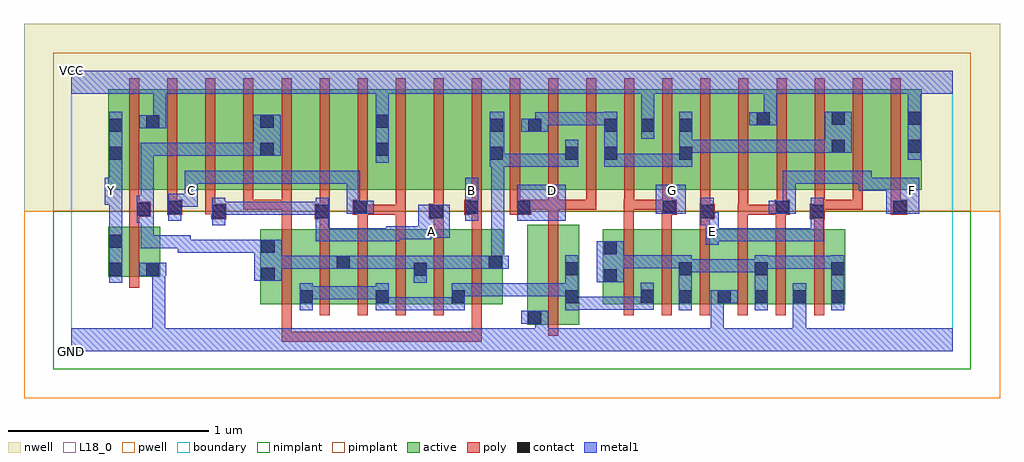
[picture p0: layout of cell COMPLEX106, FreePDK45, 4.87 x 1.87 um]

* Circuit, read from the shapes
.subckt COMPLEX106 A B C D E F G GND VCC Y
M1 GND n1 Y VSUBS nfet w=0.25u l=0.05u
M2 n2 B n1 VSUBS nfet w=0.375u l=0.05u m=2
M3 n1 A n2 VSUBS nfet w=0.375u l=0.05u m=2
M4 n2 C n1 VSUBS nfet w=0.375u l=0.05u m=2
M5 n2 D GND VSUBS nfet w=0.5u l=0.05u
M6 n2 G n3 VSUBS nfet w=0.375u l=0.05u m=2
M7 GND E n3 VSUBS nfet w=0.375u l=0.05u m=2
M8 n3 F GND VSUBS nfet w=0.375u l=0.05u m=2
M9 VCC n1 Y n4 pfet w=0.5u l=0.05u
M10 n5 C VCC n4 pfet w=0.5u l=0.05u
M11 n6 A n5 n4 pfet w=0.5u l=0.05u
M12 n1 B n6 n4 pfet w=0.5u l=0.05u
M13 n7 B n1 n4 pfet w=0.5u l=0.05u
M14 n8 A n7 n4 pfet w=0.5u l=0.05u
M15 VCC C n8 n4 pfet w=0.5u l=0.05u
M16 n9 C VCC n4 pfet w=0.5u l=0.05u
M17 n10 A n9 n4 pfet w=0.5u l=0.05u
M18 n1 B n10 n4 pfet w=0.5u l=0.05u
M19 n11 D n1 n4 pfet w=0.5u l=0.05u m=3
M20 VCC G n11 n4 pfet w=0.5u l=0.05u m=2
M21 n12 E n11 n4 pfet w=0.5u l=0.05u
M22 VCC F n12 n4 pfet w=0.5u l=0.05u
M23 n13 F VCC n4 pfet w=0.5u l=0.05u
M24 n11 E n13 n4 pfet w=0.5u l=0.05u
M25 n14 E n11 n4 pfet w=0.5u l=0.05u
M26 VCC F n14 n4 pfet w=0.5u l=0.05u
.ends

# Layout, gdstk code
import gdstk
lib = gdstk.Library(unit=1e-6, precision=1e-09)
def R(c, l, rs):  # rectangles x0, y0, x1, y1
    for r in rs: c.add(gdstk.rectangle(r[:2], r[2:], *l))
def A(c, l, x, y, w, h, nx, ny, dx, dy):  # array of equal rectangles
    R(c, l, [(x+i*dx, y+j*dy, x+i*dx+w, y+j*dy+h) for i in range(nx) for j in range(ny)])
active = (1, 0)
pwell = (2, 0)
nwell = (3, 0)
nimplant = (4, 0)
pimplant = (5, 0)
poly = (9, 0)
contact = (10, 0)
metal1 = (11, 0)
L18_0 = (18, 0)
boundary = (235, 0)

complex106 = lib.new_cell('COMPLEX106')
A(complex106, active, 0.6, 0.807, 0.19, 0.5, 3, 1, 0.57, 0)
R(complex106, active, [(2.275,0.132,2.535,0.632), (2.275,0.132,2.35,0.577), (2.46,0.145,2.535,0.632), (0.945,0.235,1.02,0.61), (0.945,0.235,1.21,0.61), (1.135,0.235,1.395,0.61), (1.135,0.235,1.21,0.497), (1.32,0.235,1.59,0.61), (1.515,0.235,1.78,0.61), (1.515,0.235,1.59,0.592), (1.705,0.235,1.97,0.61), (1.895,0.235,2.155,0.61), (1.895,0.235,1.97,0.497), (2.652,0.235,2.912,0.61), (2.837,0.235,3.102,0.61), (2.837,0.235,2.912,0.467), (3.027,0.235,3.102,0.467), (3.027,0.235,3.297,0.61), (3.222,0.235,3.297,0.467), (3.222,0.235,3.482,0.61), (3.407,0.235,3.672,0.61), (3.407,0.235,3.482,0.467), (3.597,0.235,3.862,0.61), (3.597,0.235,3.672,0.467), (3.787,0.235,3.862,0.61), (1.32,0.27,1.395,0.592), (1.705,0.27,1.78,0.592), (2.08,0.27,2.155,0.61), (2.652,0.27,2.727,0.61), (0.185,0.372,0.26,0.622), (0.185,0.372,0.445,0.622), (0.37,0.372,0.445,0.622), (0.185,0.807,0.445,1.307), (0.185,0.807,0.26,1.2), (0.37,0.807,0.6,1.307), (0.37,0.807,0.445,1.307), (0.79,0.807,1.015,1.307), (0.94,0.807,1.17,1.307), (0.94,0.807,1.015,1.2), (1.36,0.807,1.59,1.307), (1.515,0.807,1.74,1.307), (1.515,0.807,1.59,1.307), (1.93,0.807,2.16,1.307), (2.085,0.807,2.16,1.2), (2.085,0.807,2.35,1.307), (2.275,0.807,2.535,1.307), (2.275,0.807,2.35,1.2), (2.46,0.807,2.73,1.307), (2.46,0.807,2.535,1.07), (2.655,0.807,2.915,1.307), (2.655,0.807,2.73,1.2), (2.84,0.807,2.915,1.255), (2.84,0.807,3.105,1.307), (3.03,0.807,3.26,1.307), (3.03,0.807,3.105,1.2), (3.26,0.807,3.49,1.307), (3.415,0.807,3.49,1.255), (3.415,0.807,3.64,1.307), (3.64,0.807,3.865,1.307), (3.79,0.807,4.02,1.307), (3.79,0.807,3.865,1.2), (4.02,0.807,4.245,1.307), (4.17,0.807,4.245,1.255)])
R(complex106, pwell, [(-0.235,-0.235,4.635,0.7)])
R(complex106, nwell, [(-0.235,0.7,4.635,1.635)])
R(complex106, nimplant, [(-0.09,-0.09,4.49,0.7)])
R(complex106, pimplant, [(-0.09,0.7,4.49,1.49)])
A(complex106, poly, 1.05, 0.18, 0.05, 0.485, 6, 1, 0.19, 0)
A(complex106, poly, 2.757, 0.18, 0.05, 0.485, 6, 1, 0.19, 0)
A(complex106, poly, 0.67, 0.685, 0.05, 0.117, 3, 1, 0.57, 0)
A(complex106, poly, 2, 0.707, 0.05, 0.095, 6, 1, 0.19, 0)
A(complex106, poly, 3.52, 0.707, 0.05, 0.095, 4, 1, 0.19, 0)
A(complex106, poly, 0.29, 0.752, 0.05, 0.61, 21, 1, 0.19, 0)
R(complex106, poly, [(1.05,0.047,1.1,0.097), (1.05,0.047,1.1,0.097), (1.05,0.047,1.1,0.097), (1.05,0.047,1.29,0.097), (1.05,0.047,1.1,0.23), (1.24,0.047,1.29,0.097), (1.24,0.047,1.29,0.097), (1.24,0.047,1.29,0.097), (1.24,0.047,1.422,0.097), (1.372,0.047,1.422,0.097), (1.372,0.047,1.422,0.097), (1.372,0.047,1.422,0.097), (1.372,0.047,1.612,0.097), (1.562,0.047,1.612,0.097), (1.562,0.047,1.745,0.097), (1.695,0.047,1.745,0.097), (1.695,0.047,1.745,0.097), (1.695,0.047,1.745,0.097), (1.695,0.047,2.05,0.097), (2,0.047,2.05,0.097), (2,0.047,2.05,0.097), (2,0.047,2.05,0.097), (2,0.047,2.05,0.23), (2.38,0.077,2.43,0.687), (0.29,0.317,0.34,0.677), (1.05,0.615,1.1,0.757), (1.24,0.615,1.29,0.71), (1.43,0.615,1.48,0.732), (1.62,0.615,1.67,0.732), (1.81,0.615,1.86,0.71), (2,0.615,2.05,0.732), (2.757,0.615,2.807,0.757), (2.947,0.615,2.997,0.732), (3.137,0.615,3.187,0.71), (3.327,0.615,3.377,0.732), (3.517,0.615,3.567,0.732), (3.707,0.615,3.757,0.71), (0.29,0.627,0.34,0.722), (2.38,0.637,2.43,0.757), (0.7,0.66,0.775,0.735), (1.215,0.66,1.29,0.735), (1.785,0.66,1.86,0.735), (3.137,0.66,3.212,0.735), (3.685,0.66,3.76,0.735), (0.29,0.672,0.34,0.722), (0.29,0.672,0.34,0.722), (0.29,0.672,0.397,0.747), (0.48,0.682,0.555,0.757), (1.405,0.682,1.48,0.757), (1.43,0.682,1.48,0.732), (1.43,0.682,1.48,0.732), (1.43,0.682,1.48,0.732), (1.43,0.682,1.48,0.732), (1.43,0.682,1.67,0.732), (1.62,0.682,1.67,0.732), (1.62,0.682,1.67,0.732), (1.62,0.682,1.67,0.732), (1.62,0.682,1.67,0.802), (1.962,0.682,2.05,0.757), (2,0.682,2.05,0.732), (2,0.682,2.05,0.732), (2.19,0.682,2.297,0.757), (2.947,0.682,2.997,0.732), (2.947,0.682,2.997,0.732), (2.947,0.682,3.022,0.757), (3.327,0.682,3.38,0.732), (3.33,0.682,3.38,0.732), (3.33,0.682,3.38,0.732), (3.33,0.682,3.567,0.732), (3.33,0.682,3.38,0.802), (3.512,0.682,3.587,0.757), (3.517,0.682,3.567,0.732), (3.517,0.682,3.567,0.732), (3.517,0.682,3.567,0.732), (3.517,0.682,3.567,0.732), (4.09,0.682,4.172,0.757), (0.67,0.685,0.75,0.735), (0.7,0.685,0.75,0.735), (1.24,0.685,1.29,0.735), (1.24,0.685,1.29,0.735), (1.81,0.685,1.86,0.735), (1.81,0.685,1.86,0.735), (3.14,0.685,3.19,0.735), (3.14,0.685,3.19,0.735), (3.14,0.685,3.19,0.802), (3.71,0.685,3.76,0.757), (0.29,0.697,0.34,0.802), (0.48,0.707,0.53,0.802), (0.86,0.707,0.91,0.802), (0.86,0.707,0.91,0.757), (0.86,0.707,0.91,0.757), (0.86,0.707,0.91,0.757), (0.86,0.707,1.1,0.757), (1.05,0.707,1.1,0.802), (1.05,0.707,1.1,0.757), (1.05,0.707,1.1,0.757), (1.05,0.707,1.1,0.757), (1.43,0.707,1.48,0.802), (2.247,0.707,2.43,0.757), (2.38,0.707,2.43,0.757), (2.38,0.707,2.43,0.757), (2.38,0.707,2.43,0.757), (2.38,0.707,2.43,0.757), (2.38,0.707,2.43,0.757), (2.38,0.707,2.62,0.757), (2.57,0.707,2.62,0.757), (2.57,0.707,2.62,0.757), (2.57,0.707,2.62,0.757), (2.757,0.707,2.807,0.757), (2.757,0.707,2.807,0.757), (2.757,0.707,2.81,0.757), (2.76,0.707,2.81,0.757), (2.76,0.707,2.81,0.757), (2.76,0.707,2.997,0.757), (3.71,0.707,3.76,0.757), (3.71,0.707,3.95,0.757), (3.9,0.707,3.95,0.757), (3.9,0.707,3.95,0.757), (3.9,0.707,3.95,0.757)])
A(complex106, contact, 1.14, 0.24, 0.065, 0.065, 3, 1, 0.38, 0)
A(complex106, contact, 3.412, 0.24, 0.065, 0.065, 3, 1, 0.19, 0)
A(complex106, contact, 3.032, 0.38, 0.065, 0.065, 3, 1, 0.38, 0)
R(complex106, contact, [(2.28,0.137,2.345,0.202), (2.465,0.24,2.53,0.305), (3.032,0.24,3.097,0.305), (3.227,0.24,3.292,0.305), (2.842,0.242,2.907,0.307), (2.657,0.345,2.722,0.41), (0.95,0.352,1.015,0.417), (0.19,0.377,0.255,0.442), (0.375,0.377,0.44,0.442), (1.71,0.377,1.775,0.442), (2.465,0.38,2.53,0.445), (1.325,0.412,1.39,0.477), (2.085,0.412,2.15,0.477), (2.657,0.485,2.722,0.55), (0.95,0.492,1.015,0.557), (0.19,0.517,0.255,0.582), (0.705,0.665,0.77,0.73), (1.22,0.665,1.285,0.73), (1.79,0.665,1.855,0.73), (3.142,0.665,3.207,0.73), (3.69,0.665,3.755,0.73), (0.327,0.677,0.392,0.742), (0.485,0.687,0.55,0.752), (1.41,0.687,1.475,0.752), (1.967,0.687,2.032,0.752), (2.227,0.687,2.292,0.752), (2.952,0.687,3.017,0.752), (3.517,0.687,3.582,0.752), (4.102,0.687,4.167,0.752), (0.19,0.955,0.255,1.02), (2.09,0.955,2.155,1.02), (2.465,0.955,2.53,1.02), (2.66,0.955,2.725,1.02), (3.035,0.955,3.1,1.02), (0.945,0.975,1.01,1.04), (1.52,0.975,1.585,1.04), (3.795,0.99,3.86,1.055), (4.175,0.99,4.24,1.055), (0.19,1.095,0.255,1.16), (2.09,1.095,2.155,1.16), (2.28,1.095,2.345,1.16), (2.66,1.095,2.725,1.16), (2.845,1.095,2.91,1.16), (3.035,1.095,3.1,1.16), (0.375,1.112,0.44,1.177), (0.945,1.115,1.01,1.18), (1.52,1.115,1.585,1.18), (3.42,1.127,3.485,1.192), (3.795,1.13,3.86,1.195), (4.175,1.13,4.24,1.195)])
A(complex106, metal1, 1.14, 0.205, 0.065, 0.135, 3, 1, 0.38, 0)
A(complex106, metal1, 3.032, 0.205, 0.065, 0.275, 3, 1, 0.38, 0)
R(complex106, metal1, [(0,0,4.4,0.115), (0.405,0.05,0.47,0.115), (0.405,0.05,0.47,0.115), (0.405,0.05,0.47,0.115), (0.405,0.05,0.47,0.115), (0.405,0.05,0.47,0.442), (2.315,0.05,2.38,0.202), (3.192,0.05,3.257,0.115), (3.192,0.05,3.257,0.115), (3.192,0.05,3.257,0.305), (3.602,0.05,3.667,0.115), (3.602,0.05,3.667,0.115), (3.602,0.05,3.667,0.27), (2.245,0.137,2.38,0.202), (1.52,0.205,1.585,0.27), (1.52,0.205,1.585,0.27), (1.52,0.205,1.827,0.27), (1.762,0.205,1.827,0.27), (1.762,0.205,1.827,0.27), (1.762,0.205,1.827,0.27), (1.762,0.205,1.965,0.27), (2.465,0.205,2.53,0.48), (3.602,0.205,3.667,0.34), (2.465,0.207,2.53,0.272), (2.465,0.207,2.53,0.272), (2.465,0.207,2.687,0.272), (2.622,0.207,2.687,0.272), (2.622,0.207,2.687,0.272), (2.622,0.207,2.687,0.272), (2.622,0.207,2.907,0.272), (2.842,0.207,2.907,0.342), (3.192,0.24,3.327,0.305), (1.14,0.26,1.205,0.325), (1.14,0.26,1.205,0.325), (1.14,0.26,1.422,0.325), (1.357,0.26,1.422,0.325), (1.357,0.26,1.422,0.325), (1.357,0.26,1.422,0.325), (1.357,0.26,1.585,0.325), (1.9,0.275,1.965,0.34), (1.9,0.275,1.965,0.34), (1.9,0.275,2.172,0.34), (2.107,0.275,2.172,0.34), (2.107,0.275,2.172,0.34), (2.107,0.275,2.172,0.34), (2.107,0.275,2.38,0.34), (2.315,0.275,2.38,0.34), (2.315,0.275,2.38,0.34), (2.315,0.275,2.38,0.34), (2.315,0.275,2.53,0.34), (0.19,0.342,0.255,0.617), (1.71,0.342,1.775,0.477), (2.622,0.345,2.757,0.55), (0.915,0.352,1.05,0.557), (0.34,0.377,0.475,0.442), (3.032,0.395,3.237,0.46), (3.172,0.395,3.237,0.46), (3.172,0.395,3.237,0.46), (3.172,0.395,3.237,0.46), (3.172,0.395,3.375,0.46), (3.31,0.395,3.375,0.46), (3.31,0.395,3.477,0.46), (0.985,0.412,1.05,0.477), (0.985,0.412,1.05,0.477), (0.985,0.412,1.205,0.477), (1.14,0.412,1.205,0.477), (1.14,0.412,1.205,0.477), (1.14,0.412,1.205,0.477), (1.14,0.412,1.355,0.477), (1.29,0.412,1.425,0.477), (1.36,0.412,1.425,0.477), (1.36,0.412,1.425,0.477), (1.36,0.412,1.637,0.477), (1.572,0.412,1.637,0.477), (1.572,0.412,1.637,0.477), (1.572,0.412,1.637,0.477), (1.572,0.412,1.775,0.477), (1.71,0.412,1.775,0.477), (1.71,0.412,1.775,0.477), (1.71,0.412,1.972,0.477), (1.907,0.412,1.972,0.477), (1.907,0.412,1.972,0.477), (1.907,0.412,1.972,0.477), (1.907,0.412,2.115,0.477), (2.05,0.412,2.185,0.477), (2.097,0.412,2.162,0.58), (3.412,0.412,3.617,0.477), (3.552,0.412,3.617,0.477), (3.552,0.412,3.617,0.477), (3.552,0.412,3.617,0.477), (3.552,0.412,3.857,0.477), (3.792,0.412,3.857,0.477), (3.792,0.412,3.857,0.477), (2.692,0.415,2.757,0.48), (2.692,0.415,2.757,0.48), (2.692,0.415,2.895,0.48), (2.83,0.415,2.895,0.48), (2.83,0.415,2.895,0.48), (2.83,0.415,2.895,0.48), (2.83,0.415,3.097,0.48), (0.532,0.492,0.77,0.557), (0.532,0.492,0.597,0.58), (0.705,0.492,0.907,0.557), (0.705,0.492,0.77,0.557), (0.705,0.492,0.77,0.557), (0.705,0.492,0.77,0.557), (0.842,0.492,0.907,0.557), (0.842,0.492,0.98,0.557), (0.347,0.515,0.412,0.58), (0.347,0.515,0.412,0.58), (0.347,0.515,0.412,0.58), (0.347,0.515,0.597,0.58), (0.347,0.515,0.412,0.707), (0.532,0.515,0.597,0.58), (0.532,0.515,0.597,0.58), (2.097,0.515,2.162,0.58), (2.097,0.515,2.162,0.985), (3.167,0.532,3.232,0.695), (1.22,0.55,1.422,0.615), (1.22,0.55,1.285,0.765), (1.357,0.55,1.422,0.615), (1.357,0.55,1.422,0.615), (1.357,0.55,1.422,0.615), (1.357,0.55,1.637,0.615), (1.572,0.55,1.637,0.615), (1.572,0.55,1.637,0.615), (1.572,0.55,1.637,0.625), (3.167,0.55,3.375,0.615), (3.31,0.55,3.375,0.615), (3.31,0.55,3.375,0.615), (3.31,0.55,3.375,0.615), (3.31,0.55,3.615,0.615), (3.55,0.55,3.615,0.615), (3.55,0.55,3.615,0.615), (3.55,0.55,3.615,0.615), (3.55,0.55,3.755,0.615), (3.69,0.55,3.755,0.765), (0.19,0.552,0.255,0.797), (1.572,0.56,1.797,0.625), (1.732,0.56,1.797,0.632), (1.732,0.567,1.797,0.632), (1.732,0.567,1.89,0.73), (0.705,0.63,0.77,0.765), (3.142,0.63,3.207,0.765), (3.142,0.63,3.232,0.695), (0.327,0.642,0.392,0.777), (0.327,0.642,0.412,0.707), (0.347,0.642,0.412,0.707), (0.347,0.642,0.412,1.04), (0.485,0.652,0.55,0.787), (1.967,0.652,2.032,0.867), (2.227,0.652,2.467,0.832), (0.705,0.682,0.907,0.747), (0.705,0.682,0.77,0.747), (0.705,0.682,0.77,0.747), (0.842,0.682,0.907,0.747), (0.842,0.682,1.062,0.747), (0.997,0.682,1.062,0.747), (0.997,0.682,1.062,0.747), (0.997,0.682,1.062,0.747), (0.997,0.682,1.217,0.747), (1.152,0.682,1.217,0.747), (1.152,0.682,1.285,0.747), (1.375,0.687,1.44,0.752), (1.375,0.687,1.44,0.902), (1.375,0.687,1.51,0.752), (2.917,0.687,3.067,0.832), (3.482,0.687,3.617,0.752), (3.552,0.687,3.617,0.752), (3.552,0.687,3.617,0.902), (4.067,0.687,4.232,0.867), (0.485,0.722,0.632,0.787), (0.567,0.722,0.632,0.902), (0.167,0.732,0.255,0.867), (0.19,0.802,0.255,0.867), (0.19,0.802,0.255,0.867), (0.19,0.802,0.255,0.985), (3.93,0.802,4.132,0.867), (3.93,0.802,3.995,0.867), (3.93,0.802,3.995,0.867), (3.93,0.802,3.995,0.9), (3.792,0.835,3.995,0.9), (3.792,0.835,3.857,0.902), (0.567,0.837,0.77,0.902), (0.705,0.837,0.77,0.902), (0.705,0.837,0.77,0.902), (0.705,0.837,0.77,0.902), (0.705,0.837,0.912,0.902), (0.847,0.837,0.912,0.902), (0.847,0.837,1.05,0.902), (0.985,0.837,1.05,0.902), (0.985,0.837,1.05,0.902), (0.985,0.837,1.05,0.902), (0.985,0.837,1.217,0.902), (1.152,0.837,1.217,0.902), (1.152,0.837,1.217,0.902), (1.152,0.837,1.217,0.902), (1.152,0.837,1.44,0.902), (3.552,0.837,3.857,0.902), (3.792,0.837,3.857,0.902), (3.792,0.837,3.857,0.902), (0.19,0.92,0.255,1.195), (2.09,0.92,2.162,1.195), (2.097,0.92,2.162,0.985), (2.097,0.92,2.162,0.985), (2.097,0.92,2.17,0.985), (2.105,0.92,2.17,0.985), (2.105,0.92,2.38,0.985), (2.315,0.92,2.38,0.985), (2.315,0.92,2.38,0.985), (2.315,0.92,2.38,0.985), (2.315,0.92,2.53,0.985), (2.465,0.92,2.53,1.055), (2.66,0.92,2.725,1.195), (2.66,0.92,2.725,0.985), (2.66,0.92,2.725,0.985), (2.66,0.92,2.96,0.985), (2.895,0.92,2.96,0.985), (2.895,0.92,2.96,0.985), (2.895,0.92,2.96,0.985), (2.895,0.92,3.1,0.985), (3.035,0.92,3.1,1.195), (1.52,0.94,1.585,1.215), (4.175,0.955,4.24,1.23), (0.347,0.975,0.412,1.04), (0.347,0.975,0.565,1.04), (0.5,0.975,0.565,1.04), (0.5,0.975,0.565,1.04), (0.5,0.975,0.565,1.04), (0.5,0.975,0.77,1.04), (0.705,0.975,0.77,1.04), (0.705,0.975,0.77,1.04), (0.705,0.975,0.77,1.04), (0.705,0.975,0.912,1.04), (0.847,0.975,0.912,1.04), (0.847,0.975,0.975,1.04), (0.91,0.975,1.045,1.18), (3.035,0.99,3.237,1.055), (3.172,0.99,3.237,1.055), (3.172,0.99,3.237,1.055), (3.172,0.99,3.237,1.055), (3.172,0.99,3.41,1.055), (3.345,0.99,3.41,1.055), (3.345,0.99,3.41,1.055), (3.345,0.99,3.41,1.055), (3.345,0.99,3.615,1.055), (3.55,0.99,3.615,1.055), (3.55,0.99,3.615,1.055), (3.55,0.99,3.615,1.055), (3.55,0.99,3.825,1.055), (3.76,0.99,3.825,1.055), (3.76,0.99,3.825,1.055), (3.76,0.99,3.895,1.195), (2.845,1.06,2.91,1.195), (2.245,1.095,2.38,1.16), (2.315,1.095,2.38,1.16), (2.315,1.095,2.38,1.192), (0.34,1.112,0.475,1.177), (0.41,1.112,0.475,1.35), (2.315,1.127,2.55,1.192), (2.485,1.127,2.55,1.192), (2.485,1.127,2.55,1.192), (2.485,1.127,2.55,1.192), (2.485,1.127,2.725,1.192), (3.385,1.127,3.52,1.192), (3.455,1.127,3.52,1.35), (2.845,1.13,2.91,1.35), (1.52,1.15,1.585,1.35), (4.175,1.165,4.24,1.35), (0,1.285,4.4,1.4)])
R(complex106, L18_0, [(0,0,4.4,0.115), (0.405,0.05,0.47,0.115), (0.405,0.05,0.47,0.115), (0.405,0.05,0.47,0.115), (0.405,0.05,0.47,0.115), (0.405,0.05,0.47,0.442), (2.315,0.05,2.38,0.202), (3.192,0.05,3.257,0.115), (3.192,0.05,3.257,0.115), (3.192,0.05,3.257,0.305), (3.602,0.05,3.667,0.115), (3.602,0.05,3.667,0.115), (3.602,0.05,3.667,0.27), (2.245,0.137,2.38,0.202), (3.602,0.205,3.667,0.34), (3.192,0.24,3.327,0.305), (0.19,0.342,0.255,0.617), (0.34,0.377,0.475,0.442), (3.167,0.532,3.232,0.695), (1.22,0.55,1.422,0.615), (1.22,0.55,1.285,0.765), (1.357,0.55,1.422,0.615), (1.357,0.55,1.422,0.615), (1.357,0.55,1.422,0.615), (1.357,0.55,1.637,0.615), (1.572,0.55,1.637,0.615), (1.572,0.55,1.637,0.615), (1.572,0.55,1.637,0.625), (3.167,0.55,3.375,0.615), (3.31,0.55,3.375,0.615), (3.31,0.55,3.375,0.615), (3.31,0.55,3.375,0.615), (3.31,0.55,3.615,0.615), (3.55,0.55,3.615,0.615), (3.55,0.55,3.615,0.615), (3.55,0.55,3.615,0.615), (3.55,0.55,3.755,0.615), (3.69,0.55,3.755,0.765), (0.19,0.552,0.255,0.797), (1.572,0.56,1.797,0.625), (1.732,0.56,1.797,0.632), (1.732,0.567,1.797,0.632), (1.732,0.567,1.89,0.73), (1.767,0.567,1.832,0.632), (3.167,0.567,3.232,0.632), (0.705,0.63,0.77,0.765), (3.142,0.63,3.207,0.765), (3.142,0.63,3.232,0.695), (0.485,0.652,0.55,0.787), (1.967,0.652,2.032,0.867), (2.227,0.652,2.467,0.832), (0.705,0.682,0.77,0.747), (0.705,0.682,0.77,0.747), (0.705,0.682,0.907,0.747), (0.842,0.682,0.907,0.747), (0.842,0.682,1.062,0.747), (0.997,0.682,1.062,0.747), (0.997,0.682,1.062,0.747), (0.997,0.682,1.062,0.747), (0.997,0.682,1.217,0.747), (1.152,0.682,1.217,0.747), (1.152,0.682,1.285,0.747), (1.375,0.687,1.44,0.752), (1.375,0.687,1.51,0.752), (1.375,0.687,1.44,0.902), (2.917,0.687,3.067,0.832), (3.482,0.687,3.617,0.752), (3.552,0.687,3.617,0.752), (3.552,0.687,3.617,0.902), (4.067,0.687,4.232,0.867), (0.485,0.722,0.632,0.787), (0.567,0.722,0.632,0.902), (0.167,0.732,0.255,0.867), (0.167,0.767,0.232,0.832), (0.567,0.767,0.632,0.832), (1.967,0.767,2.032,0.832), (2.367,0.767,2.432,0.832), (2.967,0.767,3.032,0.832), (4.167,0.767,4.232,0.832), (0.19,0.802,0.255,0.867), (0.19,0.802,0.255,0.867), (0.19,0.802,0.255,0.985), (3.93,0.802,3.995,0.867), (3.93,0.802,3.995,0.867), (3.93,0.802,4.132,0.867), (3.93,0.802,3.995,0.9), (3.792,0.835,3.995,0.9), (3.792,0.835,3.857,0.902), (0.567,0.837,0.77,0.902), (0.705,0.837,0.77,0.902), (0.705,0.837,0.77,0.902), (0.705,0.837,0.77,0.902), (0.705,0.837,0.912,0.902), (0.847,0.837,0.912,0.902), (0.847,0.837,1.05,0.902), (0.985,0.837,1.05,0.902), (0.985,0.837,1.05,0.902), (0.985,0.837,1.05,0.902), (0.985,0.837,1.217,0.902), (1.152,0.837,1.217,0.902), (1.152,0.837,1.217,0.902), (1.152,0.837,1.217,0.902), (1.152,0.837,1.44,0.902), (3.552,0.837,3.857,0.902), (3.792,0.837,3.857,0.902), (3.792,0.837,3.857,0.902), (0.19,0.92,0.255,1.195), (1.52,0.94,1.585,1.215), (4.175,0.955,4.24,1.23), (2.845,1.06,2.91,1.195), (0.34,1.112,0.475,1.177), (0.41,1.112,0.475,1.35), (3.385,1.127,3.52,1.192), (3.455,1.127,3.52,1.35), (2.845,1.13,2.91,1.35), (1.52,1.15,1.585,1.35), (4.175,1.165,4.24,1.35), (0,1.285,4.4,1.4)])
R(complex106, boundary, [(0,0,4.4,1.4)])
complex106.add(gdstk.Label('A', (1.8,0.6), layer=11, texttype=0))
complex106.add(gdstk.Label('B', (2,0.8), layer=11, texttype=0))
complex106.add(gdstk.Label('C', (0.6,0.8), layer=11, texttype=0))
complex106.add(gdstk.Label('D', (2.4,0.8), layer=11, texttype=0))
complex106.add(gdstk.Label('E', (3.2,0.6), layer=11, texttype=0))
complex106.add(gdstk.Label('F', (4.2,0.8), layer=11, texttype=0))
complex106.add(gdstk.Label('G', (3,0.8), layer=11, texttype=0))
complex106.add(gdstk.Label('Y', (0.2,0.8), layer=11, texttype=0))
complex106.add(gdstk.Label('VCC', (0,1.4), layer=11, texttype=0))
complex106.add(gdstk.Label('GND', (0,0), layer=11, texttype=0))

lib.write_gds('COMPLEX106.gds')
